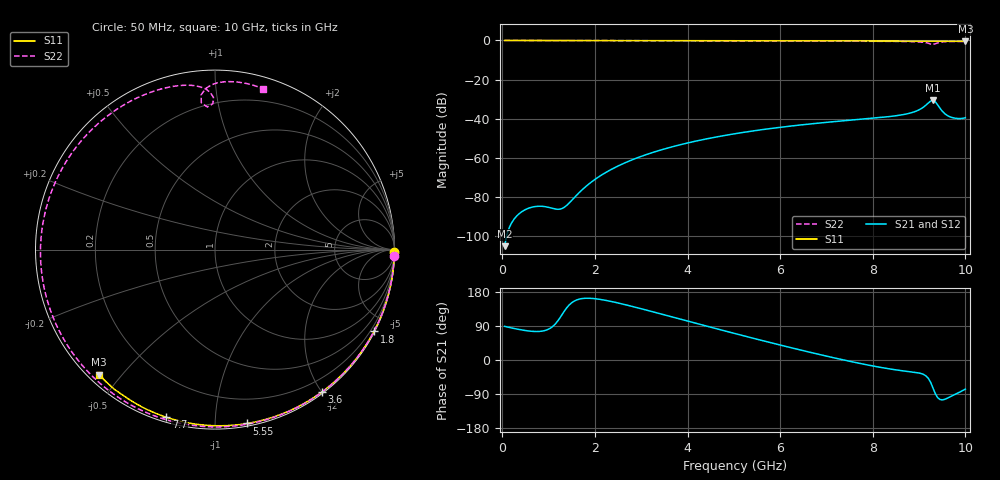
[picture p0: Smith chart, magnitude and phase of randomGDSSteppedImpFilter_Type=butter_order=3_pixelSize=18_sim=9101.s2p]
! freq	dB(S11)	phase(S11)	dB(S12)	phase(S12)
!  dB(S21)	phase(S21)	dB(S22)	phase(S22)
!S-par simulation data
#  GHz  S  DB  R 50
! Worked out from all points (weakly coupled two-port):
!   200 points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, 50 MHz to 10 GHz, reference 50 ohm
!   highest |S21| = -30.58 dB at 9.3 GHz (marker M1); lowest = -105.0 dB at 50 MHz (marker M2)
!   lowest |S11| = -0.4 dB at 10 GHz (marker M3), VSWR 38.96, Z = 1.53 - j21.8 ohm
!   |S11| at or under -10 dB: nowhere
!   |S22| runs from -2.0 to 0.0 dB; largest |S21 - S12| = 0
!   S11 on the Smith chart (normalised r, x): 50 MHz: open; 1.8 GHz: 0.04, -4.13; 3.6 GHz: 0.02, -1.99; 5.55 GHz: 0.02, -1.20; 7.7 GHz: 0.02, -0.75; 10 GHz: 0.03, -0.44
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0.05  -0.00 -0.8  -105.00 88.8  -105.00 88.8  -0.00 -2.0
0.75  -0.01 -11.5  -84.67 75.2  -84.67 75.2  -0.04 -29.9
1.55  -0.03 -23.5  -80.33 155.2  -80.33 155.2  -0.07 -60.1
1.75  -0.03 -26.5  -75.65 162.5  -75.65 162.5  -0.08 -67.2
1.8  -0.03 -27.2  -74.61 162.9  -74.61 162.9  -0.08 -69.0
2.45  -0.05 -36.8  -64.66 151.9  -64.66 151.9  -0.11 -90.8
3.4  -0.07 -50.4  -56.07 122.4  -56.07 122.4  -0.14 -119.5
3.6  -0.07 -53.3  -54.72 115.9  -54.72 115.9  -0.14 -125.2
4.3  -0.09 -62.9  -50.77 93.0  -50.77 93.0  -0.17 -144.0
5.05  -0.11 -73.0  -47.50 68.9  -47.50 68.9  -0.21 -163.0
5.55  -0.13 -79.5  -45.72 53.3  -45.72 53.3  -0.23 -175.2
6.7  -0.18 -94.0  -42.49 18.8  -42.49 18.8  -0.30 157.1
7.7  -0.24 -106.2  -40.32 -8.5  -40.32 -8.5  -0.38 132.4
8.35  -0.29 -113.8  -38.87 -23.3  -38.87 -23.3  -0.45 115.6
8.9  -0.34 -120.2  -36.39 -32.3  -36.39 -32.3  -0.63 99.9
9.2  -0.36 -123.6  -31.90 -48.6  -31.90 -48.6  -1.43 90.6
9.3  -0.36 -124.7  -30.58 -73.6  -30.58 -73.6  -1.98 93.1
9.4  -0.36 -125.9  -32.84 -99.3  -32.84 -99.3  -1.25 95.1
9.55  -0.39 -127.7  -37.26 -103.9  -37.26 -103.9  -0.64 89.1
9.65  -0.40 -128.9  -38.81 -98.4  -38.81 -98.4  -0.54 85.2
9.85  -0.43 -131.2  -39.86 -86.4  -39.86 -86.4  -0.52 78.3
10  -0.45 -132.9  -39.43 -76.8  -39.43 -76.8  -0.59 73.3
